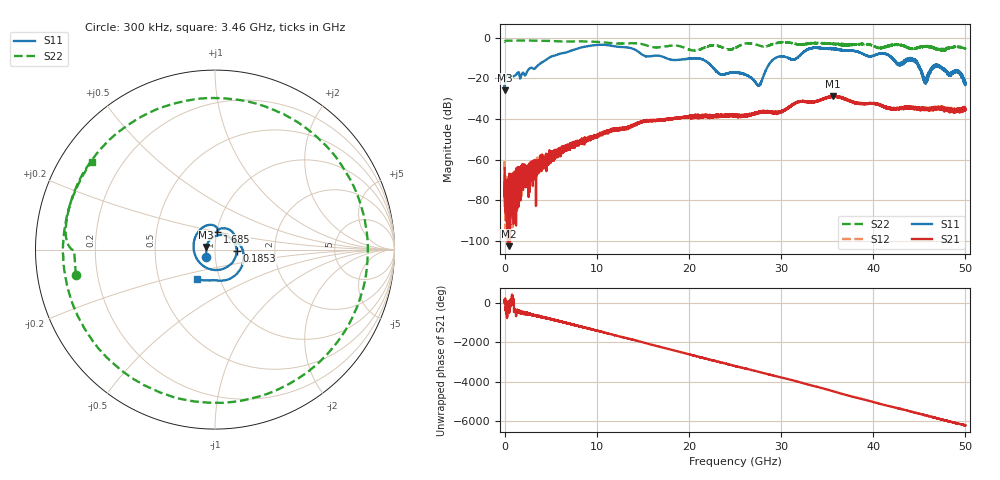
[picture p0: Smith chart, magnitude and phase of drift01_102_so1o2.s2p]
!Created with skrf (http://scikit-rf.org).
# Hz S RI R 50.0
!freq ReS11 ImS11 ReS21 ImS21 ReS12 ImS12 ReS22 ImS22
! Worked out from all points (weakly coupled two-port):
!   10001 points, 300 kHz to 50 GHz, reference 50 ohm
!   highest |S21| = -28.65 dB at 35.61 GHz (marker M1); lowest = -102.6 dB at 425.3 MHz (marker M2)
!   lowest |S11| = -25.8 dB at 5.3 MHz (marker M3), VSWR 1.11, Z = 45.3 + j1.4 ohm
!   |S11| at or under -10 dB: start of sweep to 4.769 GHz; 17.51 GHz to 29.38 GHz (11.87 GHz wide, 50.6 % of centre); 44.02 GHz to end of sweep (the widest 3 of 13)
!   |S22| runs from -6.4 to -1.4 dB; largest |S21 - S12| = 0.0042
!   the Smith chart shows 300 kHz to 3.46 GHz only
!   S11 on the Smith chart (normalised r, x): 300 kHz: 0.91, -0.08; 185.3 MHz: 1.27, -0.02; 1.685 GHz: 1.01, +0.20; 3.46 GHz: 0.78, -0.26
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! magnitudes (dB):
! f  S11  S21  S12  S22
! 300 kHz  -23.7  -64.3  -60.8  -2.1
! 5.3 MHz  -25.8  -69.3  -75.2  -2.1
! 185.3 MHz  -18.4  -78.9  -78.6  -1.4
! 425.3 MHz  -18.6  -102.6  -81.8  -1.4
! 1.685 GHz  -20.1  -66.1  -65.8  -1.4
! 3.46 GHz  -14.3  -64.1  -66.4  -1.5
! 8.335 GHz  -4.8  -50.5  -51.5  -1.8
! 16.67 GHz  -8.8  -40.5  -40.5  -4.8
! 21.21 GHz  -10.3  -38.5  -38.5  -5.7
! 23.39 GHz  -17.9  -38.0  -38.3  -4.4
! 25 GHz  -17.1  -38.1  -38.0  -5.1
! 27.59 GHz  -23.6  -37.0  -36.6  -3.8
! 29.29 GHz  -10.2  -36.8  -36.9  -2.9
! 31.45 GHz  -10.7  -32.5  -32.3  -3.0
! 33.34 GHz  -5.1  -31.8  -31.7  -2.7
! 35.61 GHz  -5.4  -28.6  -28.9  -2.9
! 41.67 GHz  -8.8  -34.5  -34.6  -4.0
! 42.76 GHz  -13.3  -35.1  -34.8  -3.3
! 44.51 GHz  -11.2  -34.5  -34.7  -5.5
! 45.63 GHz  -20.6  -35.2  -35.1  -4.2
! 46.96 GHz  -13.5  -34.9  -34.8  -5.7
! 50 GHz  -21.7  -34.9  -35.8  -5.5
